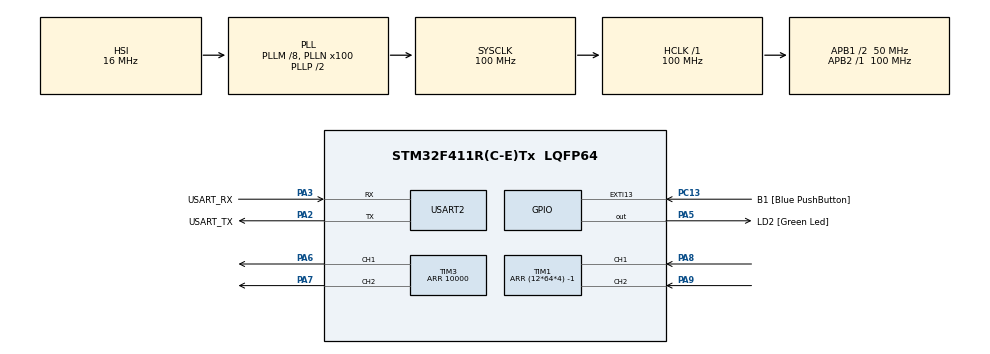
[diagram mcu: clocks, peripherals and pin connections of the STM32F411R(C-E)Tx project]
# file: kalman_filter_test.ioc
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Mcu.Family=STM32F4
Mcu.Name=STM32F411R(C-E)Tx
Mcu.Package=LQFP64
NVIC.PriorityGroup=NVIC_PRIORITYGROUP_0
NVIC.TIM5_IRQn=true\:0\:0\:false\:false\:true\:true\:true
PA13.GPIO_Label=TMS
PA13.Mode=Serial_Wire
PA13.Signal=SYS_JTMS-SWDIO
PA14.GPIO_Label=TCK
PA14.Mode=Serial_Wire
PA14.Signal=SYS_JTCK-SWCLK
PA2.GPIO_Label=USART_TX
PA2.Mode=Asynchronous
PA2.Signal=USART2_TX
PA3.GPIO_Label=USART_RX
PA3.Mode=Asynchronous
PA3.Signal=USART2_RX
PA5.GPIO_Label=LD2 [Green Led]
PA5.Signal=GPIO_Output
PA6.Signal=S_TIM3_CH1
PA7.Signal=S_TIM3_CH2
PA8.Signal=S_TIM1_CH1
PA9.Signal=S_TIM1_CH2
PB3.GPIO_Label=SWO
PB3.Signal=SYS_JTDO-SWO
PC13-ANTI_TAMP.GPIO_Label=B1 [Blue PushButton]
PC13-ANTI_TAMP.GPIO_ModeDefaultEXTI=GPIO_MODE_IT_FALLING
PC13-ANTI_TAMP.Signal=GPXTI13
PC14-OSC32_IN.Mode=LSE-External-Oscillator
PC14-OSC32_IN.Signal=RCC_OSC32_IN
PC15-OSC32_OUT.Mode=LSE-External-Oscillator
PC15-OSC32_OUT.Signal=RCC_OSC32_OUT
PH0\ -\ OSC_IN.Mode=HSE-External-Clock-Source
PH0\ -\ OSC_IN.Signal=RCC_OSC_IN
PH1\ -\ OSC_OUT.Mode=HSE-External-Clock-Source
PH1\ -\ OSC_OUT.Signal=RCC_OSC_OUT
ProjectManager.HeapSize=0x200
ProjectManager.StackSize=0x400
ProjectManager.TargetToolchain=STM32CubeIDE
RCC.48MHZClocksFreq_Value=50000000
RCC.AHBFreq_Value=100000000
RCC.APB1CLKDivider=RCC_HCLK_DIV2
RCC.APB1Freq_Value=50000000
RCC.APB1TimFreq_Value=100000000
RCC.APB2Freq_Value=100000000
RCC.APB2TimFreq_Value=100000000
RCC.CortexFreq_Value=100000000
RCC.FLatency-AdvancedSettings=FLASH_LATENCY_3
RCC.HCLKFreq_Value=100000000
RCC.HSE_VALUE=8000000
RCC.HSI_VALUE=16000000
RCC.PLLM=8
RCC.PLLN=100
RCC.SYSCLKFreq_VALUE=100000000
RCC.SYSCLKSource=RCC_SYSCLKSOURCE_PLLCLK
RCC.VCOOutputFreq_Value=200000000
SH.S_TIM1_CH1.0=TIM1_CH1,Encoder_Interface
SH.S_TIM1_CH2.0=TIM1_CH2,Encoder_Interface
SH.S_TIM3_CH1.0=TIM3_CH1,PWM Generation1 CH1
SH.S_TIM3_CH2.0=TIM3_CH2,PWM Generation2 CH2
TIM1.EncoderMode=TIM_ENCODERMODE_TI12
TIM1.Period=(12*64*4) -1
TIM3.Channel-PWM\ Generation1\ CH1=TIM_CHANNEL_1
TIM3.Channel-PWM\ Generation2\ CH2=TIM_CHANNEL_2
TIM3.Period=10000
TIM5.Prescaler=99
USART2.VirtualMode=VM_ASYNC
VP_TIM3_VS_ClockSourceINT.Mode=Internal
VP_TIM5_VS_ClockSourceINT.Mode=Internal
board=NUCLEO-F411RE

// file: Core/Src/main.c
/* USER CODE BEGIN Header */
/**
  ******************************************************************************
  * @file           : main.c
  * @brief          : Main program body
  ******************************************************************************
  * @attention
  *
  * <h2><center>&copy; Copyright (c) 2021 STMicroelectronics.
  * All rights reserved.</center></h2>
  *
  * This software component is licensed by ST under BSD 3-Clause license,
  * the "License"; You may not use this file except in compliance with the
  * License. You may obtain a copy of the License at:
  *                        opensource.org/licenses/BSD-3-Clause
  *
  ******************************************************************************
  */
/* USER CODE END Header */
#include "main.h"

/* USER CODE BEGIN Includes */
#include <math.h>
#include <stdlib.h>

/* USER CODE END Includes */

/* USER CODE BEGIN PTD */

typedef struct{

	double pre_input;
	double pre_output;
	double pre_time;
	double Wc;

} LowPass;

/* USER CODE END PTD */

TIM_HandleTypeDef htim1;
TIM_HandleTypeDef htim3;
TIM_HandleTypeDef htim5;

UART_HandleTypeDef huart2;

/* USER CODE BEGIN PV */

uint64_t _micro = 0;

int encoder_value = 0;
double encoder_velocity = 0;
uint64_t time_stamp = 0;

LowPass lowpass_filters[10] = {0};
double Wc_arr[15] = {0.00001,0.00002,0.00003,0.00004,0.00005,0.00006,0.00007,0.00008,0.00009,0.0001} ;
double lowpass_output[15] = {0};
double kalman_output = 0;

/* USER CODE END PV */

void SystemClock_Config(void);
static void MX_GPIO_Init(void);
static void MX_USART2_UART_Init(void);
static void MX_TIM1_Init(void);
static void MX_TIM3_Init(void);
static void MX_TIM5_Init(void);
/* USER CODE BEGIN PFP */

uint64_t micros();

int unwraping_update();
double velocity_update(int cur_pos);
double low_pass_process(LowPass *lowpass,double input);
double kalman_filter_update(double measure);

/* USER CODE END PFP */

int main(void)
{

  /* MCU Configuration--------------------------------------------------------*/

  /* Reset of all peripherals, Initializes the Flash interface and the Systick. */
  HAL_Init();

  /* Configure the system clock */
  SystemClock_Config();

  /* Initialize all configured peripherals */
  MX_GPIO_Init();
  MX_USART2_UART_Init();
  MX_TIM1_Init();
  MX_TIM3_Init();
  MX_TIM5_Init();
  /* USER CODE BEGIN 2 */

  // start micro
  HAL_TIM_Base_Start_IT(&htim5);

  // start PWM
  HAL_TIM_Base_Start(&htim3);
  HAL_TIM_PWM_Start(&htim3, TIM_CHANNEL_ALL);

  // start QEI
  HAL_TIM_Encoder_Start(&htim1, TIM_CHANNEL_ALL);

  //init lowpass_filter
  for(int i = 0;i < 10;i++){
	  lowpass_filters[i].Wc = Wc_arr[i];
  }

  /* USER CODE END 2 */

  /* Infinite loop */
  /* USER CODE BEGIN WHILE */
  while (1)
  {

	  encoder_value = unwraping_update();

	  if(micros() - time_stamp > 1000){ // 1kHz
		  time_stamp = micros();

		  encoder_velocity = velocity_update(encoder_value);

		  for(int i = 0;i < 10;i++){
			  lowpass_output[i] = low_pass_process(&lowpass_filters[i], encoder_velocity);
		  }

	  }

	  kalman_output = kalman_filter_update(encoder_velocity);

    /* USER CODE END WHILE */

  }
}

void SystemClock_Config(void)
{
  RCC_OscInitTypeDef RCC_OscInitStruct = {0};
  RCC_ClkInitTypeDef RCC_ClkInitStruct = {0};

  /** Configure the main internal regulator output voltage
  */
  __HAL_RCC_PWR_CLK_ENABLE();
  __HAL_PWR_VOLTAGESCALING_CONFIG(PWR_REGULATOR_VOLTAGE_SCALE1);
  /** Initializes the RCC Oscillators according to the specified parameters
  * in the RCC_OscInitTypeDef structure.
  */
  RCC_OscInitStruct.OscillatorType = RCC_OSCILLATORTYPE_HSI;
  RCC_OscInitStruct.HSIState = RCC_HSI_ON;
  RCC_OscInitStruct.HSICalibrationValue = RCC_HSICALIBRATION_DEFAULT;
  RCC_OscInitStruct.PLL.PLLState = RCC_PLL_ON;
  RCC_OscInitStruct.PLL.PLLSource = RCC_PLLSOURCE_HSI;
  RCC_OscInitStruct.PLL.PLLM = 8;
  RCC_OscInitStruct.PLL.PLLN = 100;
  RCC_OscInitStruct.PLL.PLLP = RCC_PLLP_DIV2;
  RCC_OscInitStruct.PLL.PLLQ = 4;
  if (HAL_RCC_OscConfig(&RCC_OscInitStruct) != HAL_OK)
  {
    Error_Handler();
  }
  /** Initializes the CPU, AHB and APB buses clocks
  */
  RCC_ClkInitStruct.ClockType = RCC_CLOCKTYPE_HCLK|RCC_CLOCKTYPE_SYSCLK
                              |RCC_CLOCKTYPE_PCLK1|RCC_CLOCKTYPE_PCLK2;
  RCC_ClkInitStruct.SYSCLKSource = RCC_SYSCLKSOURCE_PLLCLK;
  RCC_ClkInitStruct.AHBCLKDivider = RCC_SYSCLK_DIV1;
  RCC_ClkInitStruct.APB1CLKDivider = RCC_HCLK_DIV2;
  RCC_ClkInitStruct.APB2CLKDivider = RCC_HCLK_DIV1;

  if (HAL_RCC_ClockConfig(&RCC_ClkInitStruct, FLASH_LATENCY_3) != HAL_OK)
  {
    Error_Handler();
  }
}

static void MX_TIM1_Init(void)
{

  TIM_Encoder_InitTypeDef sConfig = {0};
  TIM_MasterConfigTypeDef sMasterConfig = {0};

  htim1.Instance = TIM1;
  htim1.Init.Prescaler = 0;
  htim1.Init.CounterMode = TIM_COUNTERMODE_UP;
  htim1.Init.Period = (12*64*4) -1;
  htim1.Init.ClockDivision = TIM_CLOCKDIVISION_DIV1;
  htim1.Init.RepetitionCounter = 0;
  htim1.Init.AutoReloadPreload = TIM_AUTORELOAD_PRELOAD_DISABLE;
  sConfig.EncoderMode = TIM_ENCODERMODE_TI12;
  sConfig.IC1Polarity = TIM_ICPOLARITY_RISING;
  sConfig.IC1Selection = TIM_ICSELECTION_DIRECTTI;
  sConfig.IC1Prescaler = TIM_ICPSC_DIV1;
  sConfig.IC1Filter = 0;
  sConfig.IC2Polarity = TIM_ICPOLARITY_RISING;
  sConfig.IC2Selection = TIM_ICSELECTION_DIRECTTI;
  sConfig.IC2Prescaler = TIM_ICPSC_DIV1;
  sConfig.IC2Filter = 0;
  if (HAL_TIM_Encoder_Init(&htim1, &sConfig) != HAL_OK)
  {
    Error_Handler();
  }
  sMasterConfig.MasterOutputTrigger = TIM_TRGO_RESET;
  sMasterConfig.MasterSlaveMode = TIM_MASTERSLAVEMODE_DISABLE;
  if (HAL_TIMEx_MasterConfigSynchronization(&htim1, &sMasterConfig) != HAL_OK)
  {
    Error_Handler();
  }

}

static void MX_TIM3_Init(void)
{

  TIM_ClockConfigTypeDef sClockSourceConfig = {0};
  TIM_MasterConfigTypeDef sMasterConfig = {0};
  TIM_OC_InitTypeDef sConfigOC = {0};

  htim3.Instance = TIM3;
  htim3.Init.Prescaler = 0;
  htim3.Init.CounterMode = TIM_COUNTERMODE_UP;
  htim3.Init.Period = 10000;
  htim3.Init.ClockDivision = TIM_CLOCKDIVISION_DIV1;
  htim3.Init.AutoReloadPreload = TIM_AUTORELOAD_PRELOAD_DISABLE;
  if (HAL_TIM_Base_Init(&htim3) != HAL_OK)
  {
    Error_Handler();
  }
  sClockSourceConfig.ClockSource = TIM_CLOCKSOURCE_INTERNAL;
  if (HAL_TIM_ConfigClockSource(&htim3, &sClockSourceConfig) != HAL_OK)
  {
    Error_Handler();
  }
  if (HAL_TIM_PWM_Init(&htim3) != HAL_OK)
  {
    Error_Handler();
  }
  if (HAL_TIM_OC_Init(&htim3) != HAL_OK)
  {
    Error_Handler();
  }
  sMasterConfig.MasterOutputTrigger = TIM_TRGO_RESET;
  sMasterConfig.MasterSlaveMode = TIM_MASTERSLAVEMODE_DISABLE;
  if (HAL_TIMEx_MasterConfigSynchronization(&htim3, &sMasterConfig) != HAL_OK)
  {
    Error_Handler();
  }
  sConfigOC.OCMode = TIM_OCMODE_PWM1;
  sConfigOC.Pulse = 0;
  sConfigOC.OCPolarity = TIM_OCPOLARITY_HIGH;
  sConfigOC.OCFastMode = TIM_OCFAST_DISABLE;
  if (HAL_TIM_PWM_ConfigChannel(&htim3, &sConfigOC, TIM_CHANNEL_1) != HAL_OK)
  {
    Error_Handler();
  }
  sConfigOC.OCMode = TIM_OCMODE_TIMING;
  if (HAL_TIM_OC_ConfigChannel(&htim3, &sConfigOC, TIM_CHANNEL_2) != HAL_OK)
  {
    Error_Handler();
  }
  HAL_TIM_MspPostInit(&htim3);

}

static void MX_TIM5_Init(void)
{

  TIM_ClockConfigTypeDef sClockSourceConfig = {0};
  TIM_MasterConfigTypeDef sMasterConfig = {0};

  htim5.Instance = TIM5;
  htim5.Init.Prescaler = 99;
  htim5.Init.CounterMode = TIM_COUNTERMODE_UP;
  htim5.Init.Period = 4294967295;
  htim5.Init.ClockDivision = TIM_CLOCKDIVISION_DIV1;
  htim5.Init.AutoReloadPreload = TIM_AUTORELOAD_PRELOAD_DISABLE;
  if (HAL_TIM_Base_Init(&htim5) != HAL_OK)
  {
    Error_Handler();
  }
  sClockSourceConfig.ClockSource = TIM_CLOCKSOURCE_INTERNAL;
  if (HAL_TIM_ConfigClockSource(&htim5, &sClockSourceConfig) != HAL_OK)
  {
    Error_Handler();
  }
  sMasterConfig.MasterOutputTrigger = TIM_TRGO_RESET;
  sMasterConfig.MasterSlaveMode = TIM_MASTERSLAVEMODE_DISABLE;
  if (HAL_TIMEx_MasterConfigSynchronization(&htim5, &sMasterConfig) != HAL_OK)
  {
    Error_Handler();
  }

}

static void MX_USART2_UART_Init(void)
{

  huart2.Instance = USART2;
  huart2.Init.BaudRate = 115200;
  huart2.Init.WordLength = UART_WORDLENGTH_8B;
  huart2.Init.StopBits = UART_STOPBITS_1;
  huart2.Init.Parity = UART_PARITY_NONE;
  huart2.Init.Mode = UART_MODE_TX_RX;
  huart2.Init.HwFlowCtl = UART_HWCONTROL_NONE;
  huart2.Init.OverSampling = UART_OVERSAMPLING_16;
  if (HAL_UART_Init(&huart2) != HAL_OK)
  {
    Error_Handler();
  }

}

static void MX_GPIO_Init(void)
{
  GPIO_InitTypeDef GPIO_InitStruct = {0};

  /* GPIO Ports Clock Enable */
  __HAL_RCC_GPIOC_CLK_ENABLE();
  __HAL_RCC_GPIOH_CLK_ENABLE();
  __HAL_RCC_GPIOA_CLK_ENABLE();
  __HAL_RCC_GPIOB_CLK_ENABLE();

  /*Configure GPIO pin Output Level */
  HAL_GPIO_WritePin(LD2_GPIO_Port, LD2_Pin, GPIO_PIN_RESET);

  /*Configure GPIO pin : B1_Pin */
  GPIO_InitStruct.Pin = B1_Pin;
  GPIO_InitStruct.Mode = GPIO_MODE_IT_FALLING;
  GPIO_InitStruct.Pull = GPIO_NOPULL;
  HAL_GPIO_Init(B1_GPIO_Port, &GPIO_InitStruct);

  /*Configure GPIO pin : LD2_Pin */
  GPIO_InitStruct.Pin = LD2_Pin;
  GPIO_InitStruct.Mode = GPIO_MODE_OUTPUT_PP;
  GPIO_InitStruct.Pull = GPIO_NOPULL;
  GPIO_InitStruct.Speed = GPIO_SPEED_FREQ_LOW;
  HAL_GPIO_Init(LD2_GPIO_Port, &GPIO_InitStruct);

}

/* USER CODE BEGIN 4 */

static int pre_enc_cnt = 0;
static int k = 0;

#define half_enc_cnt (12*64*4)/2
#define enc_cnt 12*64*4
int unwraping_update(){

	static int cur_enc_cnt = 0;

	cur_enc_cnt = TIM1->CNT;

	if(abs((int)cur_enc_cnt - pre_enc_cnt) > half_enc_cnt){
		k+= (int)cur_enc_cnt - pre_enc_cnt > 0 ? -1 : 1 ;
	}

	pre_enc_cnt = cur_enc_cnt;
	return enc_cnt * k + cur_enc_cnt;
}

double velocity_update(int cur_pos){
	static int pre_pos = 0;
	static int pre_time = 0;
	static int cur_time = 0;

	cur_time = micros();

	double velo = (double)(cur_pos - pre_pos)/(cur_time - pre_time);

	pre_pos = cur_pos;
	pre_time = cur_time;

	return velo;

}

double low_pass_process(LowPass *lowpass,double input){

	double cur_time = micros();
	double delta_t = cur_time - lowpass->pre_time;
	double k = (lowpass->Wc*delta_t)/(2+ lowpass->Wc*delta_t);

	double output = (1 - 2*k)*(lowpass->pre_output) +k*(input+lowpass->pre_input);

	lowpass->pre_time = cur_time;
	lowpass->pre_input = input;
	lowpass->pre_output = output;

	return output;
}

static double EST = 0;
static double E_est = 0.000002;
static double E_mea = 0.000001;

double kalman_filter_update(double measure){

	double KG = E_est/(E_est + E_mea);

	EST = EST + KG*(measure - EST);

	E_est = (1-KG)*(E_est);

	return EST;
}

uint64_t micros(){
	return _micro + TIM5->CNT;
}

void HAL_TIM_PeriodElapsedCallback(TIM_HandleTypeDef *htim){

	if(htim == &htim5){
		_micro += ((uint64_t)1<<32)-1;
	}

}

/* USER CODE END 4 */

void Error_Handler(void)
{
  __disable_irq();
  while (1)
  {
  }
}

/************************ (C) COPYRIGHT STMicroelectronics *****END OF FILE****/
